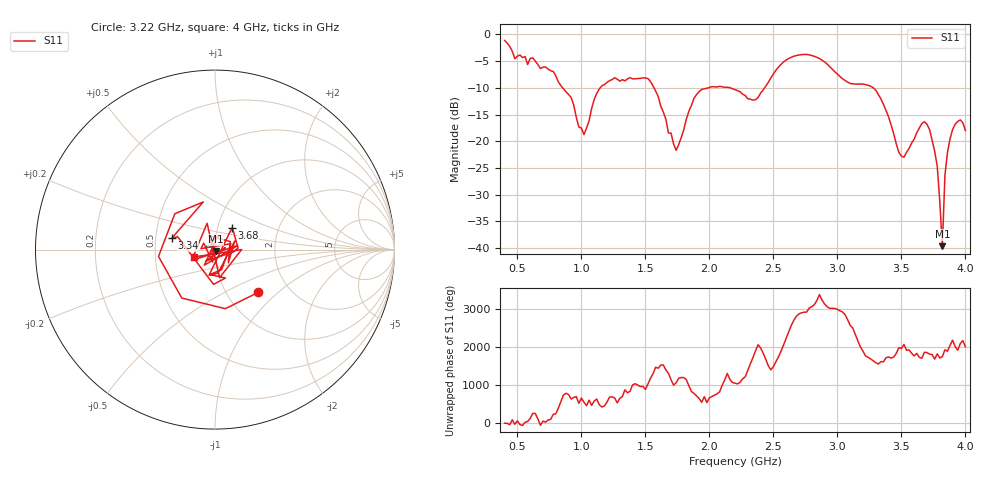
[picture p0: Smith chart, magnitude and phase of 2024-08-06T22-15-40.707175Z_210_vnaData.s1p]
!Created with skrf (http://scikit-rf.org).
# Hz S RI R 50.0
!freq ReS11 ImS11
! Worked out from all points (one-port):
!   181 points, 400 MHz to 4 GHz, reference 50 ohm
!   lowest |S11| = -39.7 dB at 3.82 GHz (marker M1), VSWR 1.02, Z = 50.5 - j0.926 ohm
!   |S11| at or under -10 dB: 853.8 MHz to 1.147 GHz (293 MHz wide, 29.3 % of centre); 1.567 GHz to 1.99 GHz (423.3 MHz wide, 23.8 % of centre); 3.281 GHz to end of sweep (the widest 3 of 4)
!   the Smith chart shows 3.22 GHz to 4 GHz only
!   S11 on the Smith chart (normalised r, x): 3.22 GHz: 1.40, -0.75; 3.34 GHz: 0.61, +0.08; 3.68 GHz: 1.17, +0.29; 4 GHz: 0.78, -0.07
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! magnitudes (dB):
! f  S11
! 400 MHz  -1.1
! 480 MHz  -4.6
! 620 MHz  -4.4
! 860 MHz  -10.2
! 1.02 GHz  -18.8
! 1.14 GHz  -10.2
! 1.3 GHz  -8.7
! 1.52 GHz  -8.3
! 1.74 GHz  -21.7
! 1.76 GHz  -20.6
! 1.92 GHz  -10.7
! 2.2 GHz  -10.3
! 2.36 GHz  -12.2
! 2.66 GHz  -4.1
! 2.86 GHz  -4.5
! 3.1 GHz  -9.2
! 3.22 GHz  -9.4
! 3.34 GHz  -12.1
! 3.48 GHz  -22.1
! 3.56 GHz  -21.4
! 3.68 GHz  -16.3
! 3.72 GHz  -17.8
! 3.78 GHz  -24.7
! 3.82 GHz  -39.7
! 3.84 GHz  -26.4
! 3.88 GHz  -19.6
! 3.96 GHz  -16.0
! 4 GHz  -18.0
